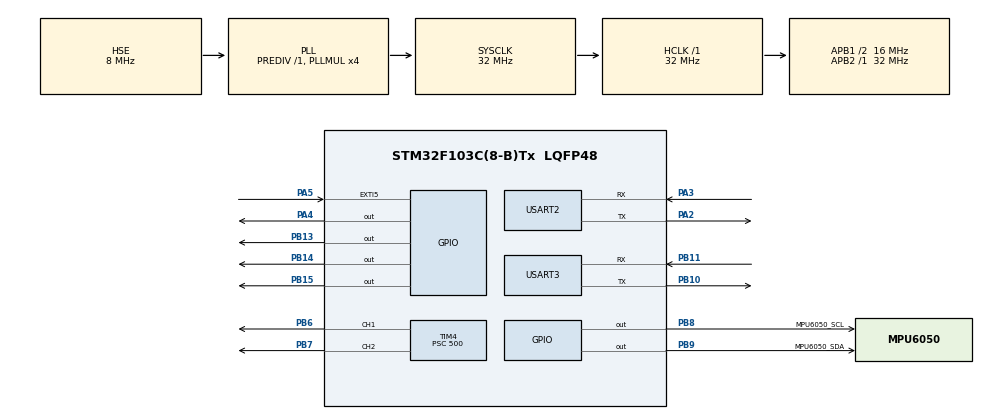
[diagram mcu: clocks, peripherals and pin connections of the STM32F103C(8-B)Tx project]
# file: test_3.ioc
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FREERTOS.Tasks01=defaultTask,0,128,StartDefaultTask,Default,NULL,Dynamic,NULL,NULL;uart_recv,2,128,uart_recv_Task,Default,NULL,Dynamic,NULL,NULL
Mcu.Family=STM32F1
Mcu.Name=STM32F103C(8-B)Tx
Mcu.Package=LQFP48
NVIC.EXTI9_5_IRQn=true\:5\:0\:true\:false\:true\:true\:true\:true\:true
NVIC.PriorityGroup=NVIC_PRIORITYGROUP_4
NVIC.TIM1_UP_IRQn=true\:0\:0\:true\:false\:true\:false\:false\:true\:true
NVIC.TIM4_IRQn=true\:5\:0\:false\:false\:true\:true\:true\:true\:true
NVIC.TimeBase=TIM1_UP_IRQn
NVIC.TimeBaseIP=TIM1
NVIC.USART2_IRQn=true\:5\:0\:false\:false\:true\:true\:true\:true\:true
NVIC.USART3_IRQn=true\:5\:0\:false\:false\:true\:true\:true\:true\:true
PA13.Mode=Serial_Wire
PA13.Signal=SYS_JTMS-SWDIO
PA14.Mode=Serial_Wire
PA14.Signal=SYS_JTCK-SWCLK
PA2.Mode=Asynchronous
PA2.Signal=USART2_TX
PA3.Mode=Asynchronous
PA3.Signal=USART2_RX
PA4.PinState=GPIO_PIN_RESET
PA4.Signal=GPIO_Output
PA5.GPIO_ModeDefaultEXTI=GPIO_MODE_IT_FALLING
PA5.Signal=GPXTI5
PB10.Mode=Asynchronous
PB10.Signal=USART3_TX
PB11.Mode=Asynchronous
PB11.Signal=USART3_RX
PB13.GPIO_PuPd=GPIO_PULLUP
PB13.Signal=GPIO_Output
PB14.GPIO_PuPd=GPIO_PULLUP
PB14.Signal=GPIO_Output
PB15.GPIO_PuPd=GPIO_PULLUP
PB15.Signal=GPIO_Output
PB6.Signal=S_TIM4_CH1
PB7.Signal=S_TIM4_CH2
PB8.GPIO_Label=MPU6050_SCL
PB8.GPIO_ModeDefaultOutputPP=GPIO_MODE_OUTPUT_OD
PB8.GPIO_PuPd=GPIO_PULLUP
PB8.GPIO_Speed=GPIO_SPEED_FREQ_HIGH
PB8.Signal=GPIO_Output
PB9.GPIO_Label=MPU6050_SDA
PB9.GPIO_ModeDefaultOutputPP=GPIO_MODE_OUTPUT_OD
PB9.GPIO_PuPd=GPIO_PULLUP
PB9.GPIO_Speed=GPIO_SPEED_FREQ_HIGH
PB9.PinState=GPIO_PIN_RESET
PB9.Signal=GPIO_Output
PC14-OSC32_IN.Mode=LSE-External-Oscillator
PC14-OSC32_IN.Signal=RCC_OSC32_IN
PC15-OSC32_OUT.Mode=LSE-External-Oscillator
PC15-OSC32_OUT.Signal=RCC_OSC32_OUT
PD0-OSC_IN.Mode=HSE-External-Oscillator
PD0-OSC_IN.Signal=RCC_OSC_IN
PD1-OSC_OUT.Mode=HSE-External-Oscillator
PD1-OSC_OUT.Signal=RCC_OSC_OUT
ProjectManager.HeapSize=0x200
ProjectManager.StackSize=0x400
ProjectManager.TargetToolchain=MDK-ARM V5.32
RCC.AHBFreq_Value=32000000
RCC.APB1CLKDivider=RCC_HCLK_DIV2
RCC.APB1Freq_Value=16000000
RCC.APB1TimFreq_Value=32000000
RCC.APB2Freq_Value=32000000
RCC.APB2TimFreq_Value=32000000
RCC.HCLKFreq_Value=32000000
RCC.PLLMUL=RCC_PLL_MUL4
RCC.PLLSourceVirtual=RCC_PLLSOURCE_HSE
RCC.SYSCLKFreq_VALUE=32000000
RCC.SYSCLKSource=RCC_SYSCLKSOURCE_PLLCLK
RCC.USBFreq_Value=32000000
SH.S_TIM4_CH1.0=TIM4_CH1,Output Compare1 CH1
SH.S_TIM4_CH2.0=TIM4_CH2,Output Compare2 CH2
TIM4.AutoReloadPreload=TIM_AUTORELOAD_PRELOAD_ENABLE
TIM4.Channel-Output\ Compare1\ CH1=TIM_CHANNEL_1
TIM4.Channel-Output\ Compare2\ CH2=TIM_CHANNEL_2
TIM4.OC1Preload=ENABLE
TIM4.OC2Preload=ENABLE
TIM4.OCMode_1=TIM_OCMODE_TOGGLE
TIM4.OCMode_2=TIM_OCMODE_TOGGLE
TIM4.Period=200
TIM4.Prescaler=500
USART2.VirtualMode=VM_ASYNC
USART3.VirtualMode=VM_ASYNC
VP_FREERTOS_VS_CMSIS_V1.Mode=CMSIS_V1
VP_SYS_VS_tim1.Mode=TIM1
VP_TIM4_VS_ClockSourceINT.Mode=Internal
board=custom

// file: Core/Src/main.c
/* USER CODE BEGIN Header */
/**
  ******************************************************************************
  * @file           : main.c
  * @brief          : Main program body
  ******************************************************************************
  * @attention
  *
  * Copyright (c) 2024 STMicroelectronics.
  * All rights reserved.
  *
  * This software is licensed under terms that can be found in the LICENSE file
  * in the root directory of this software component.
  * If no LICENSE file comes with this software, it is provided AS-IS.
  *
  ******************************************************************************
  */
/* USER CODE END Header */
#include "main.h"
#include "cmsis_os.h"
#include "tim.h"
#include "usart.h"
#include "gpio.h"

/* USER CODE BEGIN Includes */
#include "stdio.h"
#include "motor.h"
#include "IIC.h"
#include "mpu6050.h"
#include "inv_mpu.h"
#include "inv_mpu_dmp_motion_driver.h"
#include "L610.h"
/* USER CODE END Includes */

/* USER CODE BEGIN PTD */
float pitch,roll,yaw;
short aacx,aacy,aacz;
short gyrox,gyroy,gyroz;
float temp;
int motor_init=0;
/* USER CODE END PTD */

void SystemClock_Config(void);
void MX_FREERTOS_Init(void);

/* USER CODE BEGIN 0 */

uint8_t Tx_str1[]="-----------target!----------\r\n";
uint8_t Tx_str2[]="led_open\r\n";
uint8_t Tx_str3[]="led_close\r\n";
uint8_t ch[]="mpu6050 init success!\r\n";
uint8_t Rx_buf[16];
char str[]="{\"services\":[{\"service_id\":\"whu_L610_data\",\"properties\":{\"wheel_encoder\":0}}]}";

//按键中断
void HAL_GPIO_EXTI_Callback(uint16_t GPIO_Pin)
{
	if(GPIO_Pin == GPIO_PIN_5)
	{
		if(led==0)
		{
			HAL_GPIO_WritePin(GPIOA,GPIO_PIN_4,GPIO_PIN_SET);
			printf("AT+GTTS=1,\"武汉大学\",1\r\n");
			control(1, 0, 1); control(2, 0, 1);
			//Motor_disable();
			led=1;
		}
		else if(led==1)
		{
			HAL_GPIO_WritePin(GPIOA,GPIO_PIN_4,GPIO_PIN_RESET);
			printf("AT+GTTS=1,\"垃圾\",1\r\n");
			control(1, 10, 1); control(2, 10, 1);
			led=0;
			Motor_enable();
		}
	}
}

/* USER CODE END 0 */

int main(void)
{

  /* MCU Configuration--------------------------------------------------------*/

  /* Reset of all peripherals, Initializes the Flash interface and the Systick. */
  HAL_Init();

  /* Configure the system clock */
  SystemClock_Config();

  /* Initialize all configured peripherals */
  MX_GPIO_Init();
  MX_TIM4_Init();
  MX_USART3_UART_Init();
  MX_USART2_UART_Init();
  /* USER CODE BEGIN 2 */

	//L610模块初始化
	L610_init();

	//mpu6050初始化
	MPU_Init();
	mpu_dmp_init();
  HAL_UART_Transmit(&huart3,ch,sizeof(ch),10000);

	//启动TIM4，两个电机方向和使能，并发送一串数组等待接收

	HAL_TIM_Base_Start_IT(&htim4);
	//	Motor_direction_1(dir_1);
	//	Motor_direction_2(dir_2);
	HAL_UART_Transmit(&huart3,Tx_str1,sizeof(Tx_str1),10000);

	HAL_Delay(1000);

	Motor_enable();

  /* USER CODE END 2 */

  /* Call init function for freertos objects (in cmsis_os2.c) */
  MX_FREERTOS_Init();

  /* Start scheduler */
  osKernelStart();

  /* We should never get here as control is now taken by the scheduler */

  /* Infinite loop */
  while (1)
  {

  }
}

void SystemClock_Config(void)
{
  RCC_OscInitTypeDef RCC_OscInitStruct = {0};
  RCC_ClkInitTypeDef RCC_ClkInitStruct = {0};

  /** Initializes the RCC Oscillators according to the specified parameters
  * in the RCC_OscInitTypeDef structure.
  */
  RCC_OscInitStruct.OscillatorType = RCC_OSCILLATORTYPE_HSE;
  RCC_OscInitStruct.HSEState = RCC_HSE_ON;
  RCC_OscInitStruct.HSEPredivValue = RCC_HSE_PREDIV_DIV1;
  RCC_OscInitStruct.HSIState = RCC_HSI_ON;
  RCC_OscInitStruct.PLL.PLLState = RCC_PLL_ON;
  RCC_OscInitStruct.PLL.PLLSource = RCC_PLLSOURCE_HSE;
  RCC_OscInitStruct.PLL.PLLMUL = RCC_PLL_MUL4;
  if (HAL_RCC_OscConfig(&RCC_OscInitStruct) != HAL_OK)
  {
    Error_Handler();
  }

  /** Initializes the CPU, AHB and APB buses clocks
  */
  RCC_ClkInitStruct.ClockType = RCC_CLOCKTYPE_HCLK|RCC_CLOCKTYPE_SYSCLK
                              |RCC_CLOCKTYPE_PCLK1|RCC_CLOCKTYPE_PCLK2;
  RCC_ClkInitStruct.SYSCLKSource = RCC_SYSCLKSOURCE_PLLCLK;
  RCC_ClkInitStruct.AHBCLKDivider = RCC_SYSCLK_DIV1;
  RCC_ClkInitStruct.APB1CLKDivider = RCC_HCLK_DIV2;
  RCC_ClkInitStruct.APB2CLKDivider = RCC_HCLK_DIV1;

  if (HAL_RCC_ClockConfig(&RCC_ClkInitStruct, FLASH_LATENCY_1) != HAL_OK)
  {
    Error_Handler();
  }
}

void HAL_TIM_PeriodElapsedCallback(TIM_HandleTypeDef *htim)
{
  if (htim->Instance == TIM1) {
    HAL_IncTick();
  }
  /* USER CODE BEGIN Callback 1 */
  else if (htim->Instance == TIM4)
	{
		if(speed_change_flag==1)
		{
			Motor_speed_Set(motor_speed);
			speed_change_flag=0;
		}
  }
  /* USER CODE END Callback 1 */
}

void Error_Handler(void)
{
  __disable_irq();
  while (1)
  {
  }
}

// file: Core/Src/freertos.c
/* USER CODE BEGIN Header */
/**
  ******************************************************************************
  * File Name          : freertos.c
  * Description        : Code for freertos applications
  ******************************************************************************
  * @attention
  *
  * Copyright (c) 2024 STMicroelectronics.
  * All rights reserved.
  *
  * This software is licensed under terms that can be found in the LICENSE file
  * in the root directory of this software component.
  * If no LICENSE file comes with this software, it is provided AS-IS.
  *
  ******************************************************************************
  */
/* USER CODE END Header */

#include "FreeRTOS.h"
#include "task.h"
#include "main.h"
#include "cmsis_os.h"

/* USER CODE BEGIN Includes */
#include "usart.h"
#include "motor.h"
#include "IIC.h"
#include "mpu6050.h"
#include "inv_mpu.h"
#include "inv_mpu_dmp_motion_driver.h"
#include <stdio.h>
#include "L610.h"
/* USER CODE END Includes */

/* USER CODE BEGIN PTD */
extern float pitch,roll,yaw;
extern short aacx,aacy,aacz;
extern short gyrox,gyroy,gyroz;
extern float temp;
extern UART_HandleTypeDef huart3;
int wheel_ctr_flag=0;
int u2_buf;
/* USER CODE END PTD */

/* USER CODE BEGIN PD */

void check_movements(void);

void process_wheel_mov(int i);

void process_arm_mov(int i);

#define START_TASK_PRIO             1
#define START_TASK_STACK_SIZE       128
osThreadId start_TaskHandle;
void Start_task( void * pvParameters );

#define MPU6050_TASK_PRIO           2
#define MPU6050_TASK_STACK_SIZE     128
osThreadId mpu6050_TaskHandle;
void mpu6050_task( void * pvParameters );

#define TIM4_TASK_PRIO              3
#define TIM4_STACK_SIZE             128
osThreadId TIM4_TaskHandle;
void TIM4_task( void * pvParameters );
/* USER CODE END PD */

osThreadId defaultTaskHandle;
osThreadId uart_recvHandle;

/* USER CODE BEGIN FunctionPrototypes */
void Start_task( void * pvParameters )
{
	 taskENTER_CRITICAL();
//	 xTaskCreate((TaskFunction_t         )  mpu6050_task,
//							 (const char * const     )  "mpu6050_Task",
//							 (configSTACK_DEPTH_TYPE )  MPU6050_TASK_STACK_SIZE,
//							 (void *                 )  NULL,
//							 (UBaseType_t            )  MPU6050_TASK_PRIO,
//							 (TaskHandle_t *         )  &mpu6050_TaskHandle);

	 xTaskCreate((TaskFunction_t         )  TIM4_task,
							 (const char * const     )  "TIM4_task",
							 (configSTACK_DEPTH_TYPE )  TIM4_STACK_SIZE,
							 (void *                 )  NULL,
							 (UBaseType_t            )  TIM4_TASK_PRIO,
							 (TaskHandle_t *         )  &TIM4_TaskHandle);

	vTaskDelete(NULL);
	taskEXIT_CRITICAL();
}

void mpu6050_task( void * pvParameters )
{
	 	uint8_t str_buf[10]={0};
	  while(1)
		{
			vTaskDelay(500);
			while(mpu_dmp_get_data(&pitch, &roll, &yaw));
			MPU_Get_Accelerometer(&aacx, &aacy, &aacz);
			MPU_Get_Gyroscope(&gyrox, &gyroy, &gyroz);
			temp=MPU_Get_Temperature();
//			sprintf((char*)str_buf,"X;%.1f\r\n",roll);
//			HAL_UART_Transmit(&huart3,str_buf,sizeof(str_buf),10000);
		}
}

void TIM4_task( void * pvParameters )
{
	while(1)
	{
		check_movements();
		vTaskDelay(1000); // 等待 1 秒
	}

}
/* USER CODE END FunctionPrototypes */

void StartDefaultTask(void const * argument);
void uart_recv_Task(void const * argument);

void MX_FREERTOS_Init(void); /* (MISRA C 2004 rule 8.1) */

/* GetIdleTaskMemory prototype (linked to static allocation support) */
void vApplicationGetIdleTaskMemory( StaticTask_t **ppxIdleTaskTCBBuffer, StackType_t **ppxIdleTaskStackBuffer, uint32_t *pulIdleTaskStackSize );

/* USER CODE BEGIN GET_IDLE_TASK_MEMORY */
static StaticTask_t xIdleTaskTCBBuffer;
static StackType_t xIdleStack[configMINIMAL_STACK_SIZE];

void vApplicationGetIdleTaskMemory( StaticTask_t **ppxIdleTaskTCBBuffer, StackType_t **ppxIdleTaskStackBuffer, uint32_t *pulIdleTaskStackSize )
{
  *ppxIdleTaskTCBBuffer = &xIdleTaskTCBBuffer;
  *ppxIdleTaskStackBuffer = &xIdleStack[0];
  *pulIdleTaskStackSize = configMINIMAL_STACK_SIZE;
  /* place for user code */
}
/* USER CODE END GET_IDLE_TASK_MEMORY */

void MX_FREERTOS_Init(void) {
  /* USER CODE BEGIN Init */
  	 xTaskCreate((TaskFunction_t         )  Start_task,
							 (const char * const     )  "Start_task",
							 (configSTACK_DEPTH_TYPE )  START_TASK_STACK_SIZE,
							 (void *                 )  NULL,
						   (UBaseType_t            )  START_TASK_PRIO,
						   (TaskHandle_t *         )  &start_TaskHandle);
  /* USER CODE END Init */

  /* Create the thread(s) */
  /* definition and creation of defaultTask */
  osThreadDef(defaultTask, StartDefaultTask, osPriorityNormal, 0, 128);
  defaultTaskHandle = osThreadCreate(osThread(defaultTask), NULL);

  /* definition and creation of uart_recv */
  osThreadDef(uart_recv, uart_recv_Task, osPriorityHigh, 0, 128);
  uart_recvHandle = osThreadCreate(osThread(uart_recv), NULL);

}

void StartDefaultTask(void const * argument)
{
  for(;;)
  {
    osDelay(1);
  }
}

void uart_recv_Task(void const * argument)
{
  for(;;)
  {
    osDelay(1);
  }
}

/* USER CODE BEGIN Application */
void process_wheel_mov(int i) {
		uint8_t u2_buf;
    printf("wheel_mov=%d\n", i);
    wheel_ctr_flag = 1;
    Clear_Buffer();
    switch (i) {
        case 1: Motor_enable();control(1, 10, 1); control(2, 10, 1); break;
        case 2: Motor_disable(); break;
        case 3: control(1, 80, 0); control(2, 80, 0); break;
        case 4: control(1, 10, 1); control(2, 0, 1); break;
        case 5: control(1, 0, 1); control(2, 10, 1); break;
				case 6: control(1, 40, 1); break;
        case 7: control(1, 10, 1); control(2, 10, 1); break;
				case 8:
					HAL_UART_Receive_IT(&huart2,(uint8_t *)&Re_buff, 1);
					control(1,10,1);
					control(2,10,1);

					u2_buf = 9;
					HAL_UART_Transmit(&huart2, &u2_buf, 1, 0xffff);
					work_finish=0;
					break;
		  	case 9:
					work_finish=1;
					u2_buf = 10;
					HAL_UART_Transmit(&huart2, &u2_buf, 1, 0xffff);
					break;
        default: break;
    }
}

void process_arm_mov(int i) {
    printf("arm_mov=%d\n", i);
    uint8_t u2_buf = i;
    HAL_UART_Transmit(&huart2, &u2_buf, 1, 0xffff);
    Clear_Buffer();
}

void check_movements(void)
{
	if(strstr((const char*)RxBuffer, (const char *)"+HMREC") != NULL)
	{
		printf("成功接收\n");

		// 处理 wheel_mov
		wheel_ctr_flag = 0;
		for (int i = 1; i <= 9; i++)
		{
			char search_str[16];
			snprintf(search_str, sizeof(search_str), "\"wheel_mov\":%d", i);
			if (strstr((const char*)RxBuffer, (const char*)search_str) != NULL)
			{
				process_wheel_mov(i);
				break;
			}
		}

		// 如果未检测到 wheel_mov，则处理 arm_mov
		if (wheel_ctr_flag == 0)
		{
			for (int i = 1; i <= 9; i++)
			{
				char search_str[16];
				snprintf(search_str, sizeof(search_str), "\"arm_mov\":%d", i);
				if (strstr((const char*)RxBuffer, (const char*)search_str) != NULL)
				{
					process_arm_mov(i);
					break;
				}
			}
		}
	}
}

/* USER CODE END Application */
